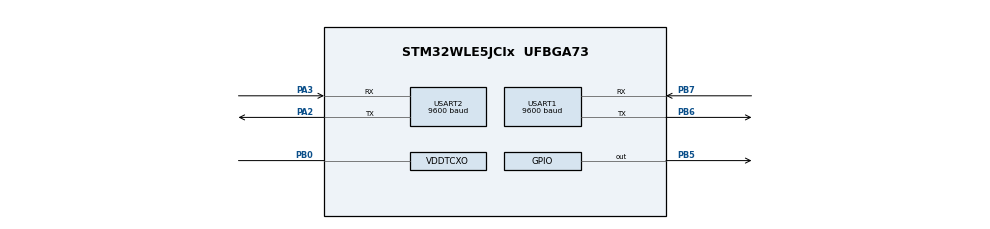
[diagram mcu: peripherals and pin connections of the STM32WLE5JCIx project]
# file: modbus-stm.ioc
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Mcu.Family=STM32WL
Mcu.Name=STM32WLE5JCIx
Mcu.Package=UFBGA73
NVIC.PriorityGroup=NVIC_PRIORITYGROUP_4
OSC_IN.Mode=HSE-TCXO
OSC_IN.Signal=RCC_OSC_IN
PA2.Mode=Asynchronous
PA2.Signal=USART2_TX
PA3.Mode=Asynchronous
PA3.Signal=USART2_RX
PB0-VDD_TCXO.Mode=HSE-TCXO
PB0-VDD_TCXO.Signal=VDDTCXO
PB5.Signal=GPIO_Output
PB6.Mode=Asynchronous
PB6.Signal=USART1_TX
PB7.Mode=Asynchronous
PB7.Signal=USART1_RX
PC14-OSC32_IN.Mode=LSE-External-Oscillator
PC14-OSC32_IN.Signal=RCC_OSC32_IN
PC15-OSC32_OUT.Mode=LSE-External-Oscillator
PC15-OSC32_OUT.Signal=RCC_OSC32_OUT
ProjectManager.HeapSize=0x200
ProjectManager.StackSize=0x400
ProjectManager.TargetToolchain=STM32CubeIDE
RCC.AHBFreq_Value=48000000
RCC.APB1Freq_Value=48000000
RCC.APB1TimFreq_Value=48000000
RCC.APB2Freq_Value=48000000
RCC.APB2TimFreq_Value=48000000
RCC.APB3Freq_Value=48000000
RCC.CortexFreq_Value=48000000
RCC.HCLKFreq_Value=48000000
RCC.HSE_VALUE=8000000
RCC.HSI_VALUE=16000000
RCC.LSE_VALUE=32768
RCC.MSIClockRange=RCC_MSIRANGE_11
RCC.SYSCLKFreq_VALUE=48000000
RCC.VCOOutputFreq_Value=384000000
USART1.BaudRate=9600
USART1.VirtualMode-Asynchronous=VM_ASYNC
USART2.BaudRate=9600
USART2.VirtualMode-Asynchronous=VM_ASYNC
board=custom

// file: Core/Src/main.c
/* USER CODE BEGIN Header */
/**
  ******************************************************************************
  * @file           : main.c
  * @brief          : Main program body
  ******************************************************************************
  * @attention
  *
  * Copyright (c) 2023 STMicroelectronics.
  * All rights reserved.
  *
  * This software is licensed under terms that can be found in the LICENSE file
  * in the root directory of this software component.
  * If no LICENSE file comes with this software, it is provided AS-IS.
  *
  ******************************************************************************
  */
/* USER CODE END Header */
#include "main.h"

/* USER CODE BEGIN Includes */
#include "modbus_wrapper.h"
/* USER CODE END Includes */

UART_HandleTypeDef huart1;
UART_HandleTypeDef huart2;

void SystemClock_Config(void);
static void MX_GPIO_Init(void);
static void MX_USART2_UART_Init(void);
static void MX_USART1_UART_Init(void);

int main(void)
{
  /* USER CODE BEGIN 1 */
  // Create the Modbus handler object
  struct ModbusHandler mb_handler;
  /* USER CODE END 1 */

  /* MCU Configuration--------------------------------------------------------*/

  /* Reset of all peripherals, Initializes the Flash interface and the Systick. */
  HAL_Init();

  /* Configure the system clock */
  SystemClock_Config();

  /* Initialize all configured peripherals */
  MX_GPIO_Init();
  MX_USART2_UART_Init();
  MX_USART1_UART_Init();
  /* USER CODE BEGIN 2 */
  // Control variables for Modbus polling frequency
  uint32_t then = 0, now = 0;
  int state = 0;
  // Initialize the indicator LED to low
  HAL_GPIO_WritePin(GPIOB, GPIO_PIN_5, GPIO_PIN_RESET);

  /****** Add Modbus requests to send once ******/

  /* USER CODE END 2 */

  /* Infinite loop */
  /* USER CODE BEGIN WHILE */
  while (1)
  {
    // Get the current time
    now = HAL_GetTick();

    // Send requests at a certain frequency
    if (now - then >= POLLING_FREQ_MS) {
      // Toggle the indicator LED at the Modbus polling frequency, for verification purposes
      if (state == 0) {
        HAL_GPIO_WritePin(GPIOB, GPIO_PIN_5, GPIO_PIN_RESET);
        state = 1;
      }
      else {
        HAL_GPIO_WritePin(GPIOB, GPIO_PIN_5, GPIO_PIN_SET);
        state = 0;
      }
      then = now;

      /****** Add Modbus requests to send at the polling frequency ******/
      ForwardVolume(&mb_handler, &huart1, &huart2, 32);
    }

    /* USER CODE END WHILE */

  }
}

void SystemClock_Config(void)
{
  RCC_OscInitTypeDef RCC_OscInitStruct = {0};
  RCC_ClkInitTypeDef RCC_ClkInitStruct = {0};

  /** Configure LSE Drive Capability
  */
  HAL_PWR_EnableBkUpAccess();
  __HAL_RCC_LSEDRIVE_CONFIG(RCC_LSEDRIVE_LOW);

  /** Configure the main internal regulator output voltage
  */
  __HAL_PWR_VOLTAGESCALING_CONFIG(PWR_REGULATOR_VOLTAGE_SCALE1);

  /** Initializes the CPU, AHB and APB buses clocks
  */
  RCC_OscInitStruct.OscillatorType = RCC_OSCILLATORTYPE_LSE|RCC_OSCILLATORTYPE_MSI;
  RCC_OscInitStruct.LSEState = RCC_LSE_ON;
  RCC_OscInitStruct.MSIState = RCC_MSI_ON;
  RCC_OscInitStruct.MSICalibrationValue = RCC_MSICALIBRATION_DEFAULT;
  RCC_OscInitStruct.MSIClockRange = RCC_MSIRANGE_11;
  RCC_OscInitStruct.PLL.PLLState = RCC_PLL_NONE;
  if (HAL_RCC_OscConfig(&RCC_OscInitStruct) != HAL_OK)
  {
    Error_Handler();
  }

  /** Configure the SYSCLKSource, HCLK, PCLK1 and PCLK2 clocks dividers
  */
  RCC_ClkInitStruct.ClockType = RCC_CLOCKTYPE_HCLK3|RCC_CLOCKTYPE_HCLK
                              |RCC_CLOCKTYPE_SYSCLK|RCC_CLOCKTYPE_PCLK1
                              |RCC_CLOCKTYPE_PCLK2;
  RCC_ClkInitStruct.SYSCLKSource = RCC_SYSCLKSOURCE_MSI;
  RCC_ClkInitStruct.AHBCLKDivider = RCC_SYSCLK_DIV1;
  RCC_ClkInitStruct.APB1CLKDivider = RCC_HCLK_DIV1;
  RCC_ClkInitStruct.APB2CLKDivider = RCC_HCLK_DIV1;
  RCC_ClkInitStruct.AHBCLK3Divider = RCC_SYSCLK_DIV1;

  if (HAL_RCC_ClockConfig(&RCC_ClkInitStruct, FLASH_LATENCY_2) != HAL_OK)
  {
    Error_Handler();
  }
}

static void MX_USART1_UART_Init(void)
{

  huart1.Instance = USART1;
  huart1.Init.BaudRate = 9600;
  huart1.Init.WordLength = UART_WORDLENGTH_8B;
  huart1.Init.StopBits = UART_STOPBITS_1;
  huart1.Init.Parity = UART_PARITY_NONE;
  huart1.Init.Mode = UART_MODE_TX_RX;
  huart1.Init.HwFlowCtl = UART_HWCONTROL_NONE;
  huart1.Init.OverSampling = UART_OVERSAMPLING_16;
  huart1.Init.OneBitSampling = UART_ONE_BIT_SAMPLE_DISABLE;
  huart1.Init.ClockPrescaler = UART_PRESCALER_DIV1;
  huart1.AdvancedInit.AdvFeatureInit = UART_ADVFEATURE_NO_INIT;
  if (HAL_UART_Init(&huart1) != HAL_OK)
  {
    Error_Handler();
  }
  if (HAL_UARTEx_SetTxFifoThreshold(&huart1, UART_TXFIFO_THRESHOLD_1_8) != HAL_OK)
  {
    Error_Handler();
  }
  if (HAL_UARTEx_SetRxFifoThreshold(&huart1, UART_RXFIFO_THRESHOLD_1_8) != HAL_OK)
  {
    Error_Handler();
  }
  if (HAL_UARTEx_DisableFifoMode(&huart1) != HAL_OK)
  {
    Error_Handler();
  }

}

static void MX_USART2_UART_Init(void)
{

  huart2.Instance = USART2;
  huart2.Init.BaudRate = 9600;
  huart2.Init.WordLength = UART_WORDLENGTH_8B;
  huart2.Init.StopBits = UART_STOPBITS_1;
  huart2.Init.Parity = UART_PARITY_NONE;
  huart2.Init.Mode = UART_MODE_TX_RX;
  huart2.Init.HwFlowCtl = UART_HWCONTROL_NONE;
  huart2.Init.OverSampling = UART_OVERSAMPLING_16;
  huart2.Init.OneBitSampling = UART_ONE_BIT_SAMPLE_DISABLE;
  huart2.Init.ClockPrescaler = UART_PRESCALER_DIV1;
  huart2.AdvancedInit.AdvFeatureInit = UART_ADVFEATURE_NO_INIT;
  if (HAL_UART_Init(&huart2) != HAL_OK)
  {
    Error_Handler();
  }
  if (HAL_UARTEx_SetTxFifoThreshold(&huart2, UART_TXFIFO_THRESHOLD_1_8) != HAL_OK)
  {
    Error_Handler();
  }
  if (HAL_UARTEx_SetRxFifoThreshold(&huart2, UART_RXFIFO_THRESHOLD_1_8) != HAL_OK)
  {
    Error_Handler();
  }
  if (HAL_UARTEx_DisableFifoMode(&huart2) != HAL_OK)
  {
    Error_Handler();
  }

}

static void MX_GPIO_Init(void)
{
  GPIO_InitTypeDef GPIO_InitStruct = {0};

  /* GPIO Ports Clock Enable */
  __HAL_RCC_GPIOC_CLK_ENABLE();
  __HAL_RCC_GPIOB_CLK_ENABLE();
  __HAL_RCC_GPIOA_CLK_ENABLE();

  /*Configure GPIO pin Output Level */
  HAL_GPIO_WritePin(GPIOB, GPIO_PIN_5, GPIO_PIN_RESET);

  /*Configure GPIO pin : PB5 */
  GPIO_InitStruct.Pin = GPIO_PIN_5;
  GPIO_InitStruct.Mode = GPIO_MODE_OUTPUT_PP;
  GPIO_InitStruct.Pull = GPIO_NOPULL;
  GPIO_InitStruct.Speed = GPIO_SPEED_FREQ_LOW;
  HAL_GPIO_Init(GPIOB, &GPIO_InitStruct);

}

void Error_Handler(void)
{
  __disable_irq();
  while (1)
  {
  }
}
